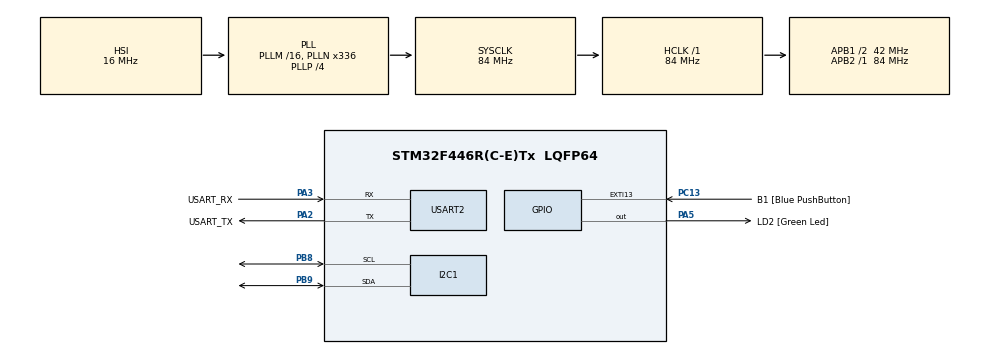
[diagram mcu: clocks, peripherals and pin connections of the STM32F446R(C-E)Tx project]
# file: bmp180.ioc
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Mcu.Family=STM32F4
Mcu.Name=STM32F446R(C-E)Tx
Mcu.Package=LQFP64
NVIC.PriorityGroup=NVIC_PRIORITYGROUP_0
PA13.GPIO_Label=TMS
PA13.Mode=Serial_Wire
PA13.Signal=SYS_JTMS-SWDIO
PA14.GPIO_Label=TCK
PA14.Mode=Serial_Wire
PA14.Signal=SYS_JTCK-SWCLK
PA2.GPIO_Label=USART_TX
PA2.Mode=Asynchronous
PA2.Signal=USART2_TX
PA3.GPIO_Label=USART_RX
PA3.Mode=Asynchronous
PA3.Signal=USART2_RX
PA5.GPIO_Label=LD2 [Green Led]
PA5.Signal=GPIO_Output
PB3.GPIO_Label=SWO
PB3.Signal=SYS_JTDO-SWO
PB8.Mode=I2C
PB8.Signal=I2C1_SCL
PB9.Mode=I2C
PB9.Signal=I2C1_SDA
PC13.GPIO_Label=B1 [Blue PushButton]
PC13.GPIO_ModeDefaultEXTI=GPIO_MODE_IT_FALLING
PC13.Signal=GPXTI13
PC14-OSC32_IN.Mode=LSE-External-Oscillator
PC14-OSC32_IN.Signal=RCC_OSC32_IN
PC15-OSC32_OUT.Mode=LSE-External-Oscillator
PC15-OSC32_OUT.Signal=RCC_OSC32_OUT
PH0-OSC_IN.Mode=HSE-External-Oscillator
PH0-OSC_IN.Signal=RCC_OSC_IN
PH1-OSC_OUT.Mode=HSE-External-Oscillator
PH1-OSC_OUT.Signal=RCC_OSC_OUT
ProjectManager.HeapSize=0x200
ProjectManager.StackSize=0x400
ProjectManager.TargetToolchain=STM32CubeIDE
RCC.48MHZClocksFreq_Value=84000000
RCC.AHBFreq_Value=84000000
RCC.APB1CLKDivider=RCC_HCLK_DIV2
RCC.APB1Freq_Value=42000000
RCC.APB1TimFreq_Value=84000000
RCC.APB2Freq_Value=84000000
RCC.APB2TimFreq_Value=84000000
RCC.CortexFreq_Value=84000000
RCC.FLatency-AdvancedSettings=FLASH_LATENCY_2
RCC.HCLKFreq_Value=84000000
RCC.HSE_VALUE=8000000
RCC.HSI_VALUE=16000000
RCC.PLLN=336
RCC.PLLP=RCC_PLLP_DIV4
RCC.SYSCLKFreq_VALUE=84000000
RCC.SYSCLKSource=RCC_SYSCLKSOURCE_PLLCLK
RCC.USBFreq_Value=168000000
RCC.VCOOutputFreq_Value=336000000
USART2.VirtualMode=VM_ASYNC
board=NUCLEO-F446RE

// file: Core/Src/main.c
/* USER CODE BEGIN Header */
/**
  ******************************************************************************
  * @file           : main.c
  * @brief          : BMP180 pressure/temperature test with LD2 blink
  ******************************************************************************
  */
/* USER CODE END Header */

#include "main.h"

/* USER CODE BEGIN Includes */
#include <stdio.h>
#include <string.h>
#include <stdint.h>
/* USER CODE END Includes */

I2C_HandleTypeDef hi2c1;
UART_HandleTypeDef huart2;

/* USER CODE BEGIN PV */

#define BMP180_ADDR     (0x77 << 1)

// BMP180 registers
#define BMP180_REG_CALIB_START  0xAA
#define BMP180_REG_CONTROL      0xF4
#define BMP180_REG_RESULT       0xF6
#define BMP180_CMD_TEMP         0x2E
#define BMP180_CMD_PRESSURE     0x34

// Oversampling setting: 0, 1, 2, or 3
#define BMP180_OSS 0

// Calibration coefficients
int16_t AC1, AC2, AC3;
uint16_t AC4, AC5, AC6;
int16_t B1, B2, MB, MC, MD;

int32_t B5;

float temperature_C;
float pressure_Pa;
float pressure_hPa;

/* USER CODE END PV */

void SystemClock_Config(void);
static void MX_GPIO_Init(void);
static void MX_I2C1_Init(void);
static void MX_USART2_UART_Init(void);

/* USER CODE BEGIN PFP */
void debug_print(char *msg);
uint8_t BMP180_ReadCalibration(void);
uint8_t BMP180_ReadRawTemperature(int32_t *UT);
uint8_t BMP180_ReadRawPressure(int32_t *UP);
void BMP180_Calculate(int32_t UT, int32_t UP, float *temp_C, float *press_Pa);
/* USER CODE END PFP */

/* USER CODE BEGIN 0 */

void debug_print(char *msg)
{
    HAL_UART_Transmit(&huart2, (uint8_t*)msg, strlen(msg), 100);
}

uint8_t BMP180_ReadU16(uint8_t reg, uint16_t *value)
{
    uint8_t data[2];

    if (HAL_I2C_Mem_Read(&hi2c1, BMP180_ADDR, reg, 1, data, 2, 100) != HAL_OK)
    {
        return 0;
    }

    *value = (uint16_t)((data[0] << 8) | data[1]);
    return 1;
}

uint8_t BMP180_ReadS16(uint8_t reg, int16_t *value)
{
    uint16_t temp;

    if (!BMP180_ReadU16(reg, &temp))
    {
        return 0;
    }

    *value = (int16_t)temp;
    return 1;
}

uint8_t BMP180_ReadCalibration(void)
{
    if (!BMP180_ReadS16(0xAA, &AC1)) return 0;
    if (!BMP180_ReadS16(0xAC, &AC2)) return 0;
    if (!BMP180_ReadS16(0xAE, &AC3)) return 0;
    if (!BMP180_ReadU16(0xB0, &AC4)) return 0;
    if (!BMP180_ReadU16(0xB2, &AC5)) return 0;
    if (!BMP180_ReadU16(0xB4, &AC6)) return 0;
    if (!BMP180_ReadS16(0xB6, &B1))  return 0;
    if (!BMP180_ReadS16(0xB8, &B2))  return 0;
    if (!BMP180_ReadS16(0xBA, &MB))  return 0;
    if (!BMP180_ReadS16(0xBC, &MC))  return 0;
    if (!BMP180_ReadS16(0xBE, &MD))  return 0;

    return 1;
}

uint8_t BMP180_ReadRawTemperature(int32_t *UT)
{
    uint8_t cmd = BMP180_CMD_TEMP;
    uint8_t data[2];

    if (HAL_I2C_Mem_Write(&hi2c1, BMP180_ADDR, BMP180_REG_CONTROL, 1, &cmd, 1, 100) != HAL_OK)
    {
        return 0;
    }

    HAL_Delay(5);

    if (HAL_I2C_Mem_Read(&hi2c1, BMP180_ADDR, BMP180_REG_RESULT, 1, data, 2, 100) != HAL_OK)
    {
        return 0;
    }

    *UT = (int32_t)((data[0] << 8) | data[1]);
    return 1;
}

uint8_t BMP180_ReadRawPressure(int32_t *UP)
{
    uint8_t cmd = BMP180_CMD_PRESSURE + (BMP180_OSS << 6);
    uint8_t data[3];

    if (HAL_I2C_Mem_Write(&hi2c1, BMP180_ADDR, BMP180_REG_CONTROL, 1, &cmd, 1, 100) != HAL_OK)
    {
        return 0;
    }

#if BMP180_OSS == 0
    HAL_Delay(5);
#elif BMP180_OSS == 1
    HAL_Delay(8);
#elif BMP180_OSS == 2
    HAL_Delay(14);
#else
    HAL_Delay(26);
#endif

    if (HAL_I2C_Mem_Read(&hi2c1, BMP180_ADDR, BMP180_REG_RESULT, 1, data, 3, 100) != HAL_OK)
    {
        return 0;
    }

    *UP = (((int32_t)data[0] << 16) | ((int32_t)data[1] << 8) | data[2]) >> (8 - BMP180_OSS);
    return 1;
}

void BMP180_Calculate(int32_t UT, int32_t UP, float *temp_C, float *press_Pa)
{
    int32_t X1, X2, X3;
    int32_t B3, B6;
    uint32_t B4, B7;
    int32_t p;

    // Temperature calculation
    X1 = ((UT - (int32_t)AC6) * (int32_t)AC5) >> 15;
    X2 = ((int32_t)MC << 11) / (X1 + MD);
    B5 = X1 + X2;

    int32_t temp_x10 = (B5 + 8) >> 4;
    *temp_C = temp_x10 / 10.0f;

    // Pressure calculation
    B6 = B5 - 4000;

    X1 = ((int32_t)B2 * ((B6 * B6) >> 12)) >> 11;
    X2 = ((int32_t)AC2 * B6) >> 11;
    X3 = X1 + X2;

    B3 = ((((int32_t)AC1 * 4 + X3) << BMP180_OSS) + 2) >> 2;

    X1 = ((int32_t)AC3 * B6) >> 13;
    X2 = ((int32_t)B1 * ((B6 * B6) >> 12)) >> 16;
    X3 = ((X1 + X2) + 2) >> 2;

    B4 = ((uint32_t)AC4 * (uint32_t)(X3 + 32768)) >> 15;
    B7 = ((uint32_t)UP - B3) * (uint32_t)(50000 >> BMP180_OSS);

    if (B7 < 0x80000000)
    {
        p = (B7 * 2) / B4;
    }
    else
    {
        p = (B7 / B4) * 2;
    }

    X1 = (p >> 8) * (p >> 8);
    X1 = (X1 * 3038) >> 16;
    X2 = (-7357 * p) >> 16;

    p = p + ((X1 + X2 + 3791) >> 4);

    *press_Pa = (float)p;
}

/* USER CODE END 0 */

int main(void)
{
    HAL_StatusTypeDef status;
    char buffer[150];

    int32_t UT = 0;
    int32_t UP = 0;

    HAL_Init();
    SystemClock_Config();
    MX_GPIO_Init();
    MX_I2C1_Init();
    MX_USART2_UART_Init();

    /* USER CODE BEGIN 2 */

    debug_print("Starting BMP180 test...\r\n");

    // Check if BMP180 responds at address 0x77
    status = HAL_I2C_IsDeviceReady(&hi2c1, BMP180_ADDR, 3, 100);

    sprintf(buffer, "BMP180 device ready status = %d\r\n", status);
    debug_print(buffer);

    if (status == HAL_OK)
    {
        debug_print("BMP180 detected at address 0x77\r\n");
    }
    else
    {
        debug_print("No I2C response from BMP180 at 0x77\r\n");
    }

    // Read calibration data
    if (BMP180_ReadCalibration())
    {
        debug_print("BMP180 calibration read successful\r\n");

        sprintf(buffer, "AC1=%d AC2=%d AC3=%d AC4=%u AC5=%u AC6=%u\r\n",
                AC1, AC2, AC3, AC4, AC5, AC6);
        debug_print(buffer);
    }
    else
    {
        debug_print("BMP180 calibration read failed\r\n");
    }

    /* USER CODE END 2 */

    while (1)
    {
        /* USER CODE BEGIN 3 */

        if (BMP180_ReadRawTemperature(&UT) && BMP180_ReadRawPressure(&UP))
        {
            BMP180_Calculate(UT, UP, &temperature_C, &pressure_Pa);
            pressure_hPa = pressure_Pa / 100.0f;

            sprintf(buffer,
                    "Temp: %.2f C | Pressure: %.2f Pa | %.2f hPa\r\n",
                    temperature_C, pressure_Pa, pressure_hPa);
            debug_print(buffer);
        }
        else
        {
            debug_print("BMP180 sensor data read failed\r\n");
        }

        HAL_GPIO_TogglePin(LD2_GPIO_Port, LD2_Pin);
        HAL_Delay(500);

        /* USER CODE END 3 */
    }
}

void SystemClock_Config(void)
{
    RCC_OscInitTypeDef RCC_OscInitStruct = {0};
    RCC_ClkInitTypeDef RCC_ClkInitStruct = {0};

    __HAL_RCC_PWR_CLK_ENABLE();
    __HAL_PWR_VOLTAGESCALING_CONFIG(PWR_REGULATOR_VOLTAGE_SCALE3);

    RCC_OscInitStruct.OscillatorType = RCC_OSCILLATORTYPE_HSI;
    RCC_OscInitStruct.HSIState = RCC_HSI_ON;
    RCC_OscInitStruct.HSICalibrationValue = RCC_HSICALIBRATION_DEFAULT;
    RCC_OscInitStruct.PLL.PLLState = RCC_PLL_ON;
    RCC_OscInitStruct.PLL.PLLSource = RCC_PLLSOURCE_HSI;
    RCC_OscInitStruct.PLL.PLLM = 16;
    RCC_OscInitStruct.PLL.PLLN = 336;
    RCC_OscInitStruct.PLL.PLLP = RCC_PLLP_DIV4;
    RCC_OscInitStruct.PLL.PLLQ = 2;
    RCC_OscInitStruct.PLL.PLLR = 2;

    if (HAL_RCC_OscConfig(&RCC_OscInitStruct) != HAL_OK)
    {
        Error_Handler();
    }

    RCC_ClkInitStruct.ClockType = RCC_CLOCKTYPE_HCLK | RCC_CLOCKTYPE_SYSCLK |
                                  RCC_CLOCKTYPE_PCLK1 | RCC_CLOCKTYPE_PCLK2;
    RCC_ClkInitStruct.SYSCLKSource = RCC_SYSCLKSOURCE_PLLCLK;
    RCC_ClkInitStruct.AHBCLKDivider = RCC_SYSCLK_DIV1;
    RCC_ClkInitStruct.APB1CLKDivider = RCC_HCLK_DIV2;
    RCC_ClkInitStruct.APB2CLKDivider = RCC_HCLK_DIV1;

    if (HAL_RCC_ClockConfig(&RCC_ClkInitStruct, FLASH_LATENCY_2) != HAL_OK)
    {
        Error_Handler();
    }
}

static void MX_I2C1_Init(void)
{
    hi2c1.Instance = I2C1;
    hi2c1.Init.ClockSpeed = 100000;
    hi2c1.Init.DutyCycle = I2C_DUTYCYCLE_2;
    hi2c1.Init.OwnAddress1 = 0;
    hi2c1.Init.AddressingMode = I2C_ADDRESSINGMODE_7BIT;
    hi2c1.Init.DualAddressMode = I2C_DUALADDRESS_DISABLE;
    hi2c1.Init.OwnAddress2 = 0;
    hi2c1.Init.GeneralCallMode = I2C_GENERALCALL_DISABLE;
    hi2c1.Init.NoStretchMode = I2C_NOSTRETCH_DISABLE;

    if (HAL_I2C_Init(&hi2c1) != HAL_OK)
    {
        Error_Handler();
    }
}

static void MX_USART2_UART_Init(void)
{
    huart2.Instance = USART2;
    huart2.Init.BaudRate = 115200;
    huart2.Init.WordLength = UART_WORDLENGTH_8B;
    huart2.Init.StopBits = UART_STOPBITS_1;
    huart2.Init.Parity = UART_PARITY_NONE;
    huart2.Init.Mode = UART_MODE_TX_RX;
    huart2.Init.HwFlowCtl = UART_HWCONTROL_NONE;
    huart2.Init.OverSampling = UART_OVERSAMPLING_16;

    if (HAL_UART_Init(&huart2) != HAL_OK)
    {
        Error_Handler();
    }
}

static void MX_GPIO_Init(void)
{
    GPIO_InitTypeDef GPIO_InitStruct = {0};

    __HAL_RCC_GPIOC_CLK_ENABLE();
    __HAL_RCC_GPIOH_CLK_ENABLE();
    __HAL_RCC_GPIOA_CLK_ENABLE();
    __HAL_RCC_GPIOB_CLK_ENABLE();

    HAL_GPIO_WritePin(LD2_GPIO_Port, LD2_Pin, GPIO_PIN_RESET);

    GPIO_InitStruct.Pin = B1_Pin;
    GPIO_InitStruct.Mode = GPIO_MODE_IT_FALLING;
    GPIO_InitStruct.Pull = GPIO_NOPULL;
    HAL_GPIO_Init(B1_GPIO_Port, &GPIO_InitStruct);

    GPIO_InitStruct.Pin = LD2_Pin;
    GPIO_InitStruct.Mode = GPIO_MODE_OUTPUT_PP;
    GPIO_InitStruct.Pull = GPIO_NOPULL;
    GPIO_InitStruct.Speed = GPIO_SPEED_FREQ_LOW;
    HAL_GPIO_Init(LD2_GPIO_Port, &GPIO_InitStruct);
}

void Error_Handler(void)
{
    __disable_irq();
    while (1)
    {
    }
}
